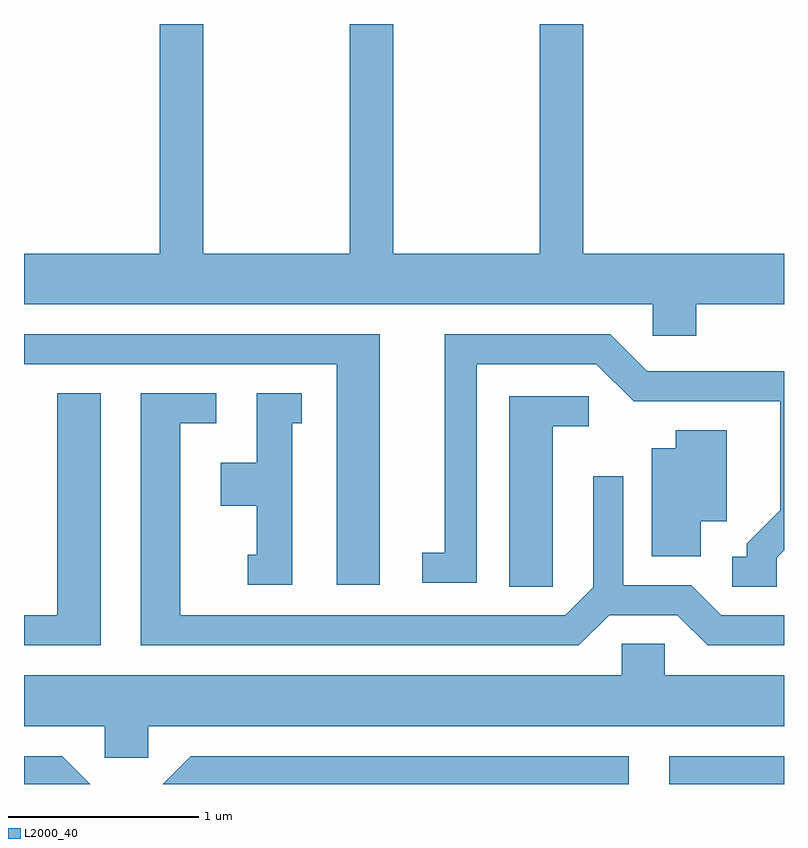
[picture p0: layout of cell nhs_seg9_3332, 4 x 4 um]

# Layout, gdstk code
import gdstk
lib = gdstk.Library(unit=1e-6, precision=1e-09)
def R(c, l, rs):  # rectangles x0, y0, x1, y1
    for r in rs: c.add(gdstk.rectangle(r[:2], r[2:], *l))
def P(c, l, *ps):  # polygons
    for p in ps: c.add(gdstk.Polygon(p, *l))
L2000_40 = (2000, 40)

nhs_seg9_3332 = lib.new_cell('nhs_seg9_3332')
R(nhs_seg9_3332, L2000_40, [(287.006,1960.432,287.611,1960.579)])
P(nhs_seg9_3332, L2000_40, [(287.149,1962.956),(287.611,1962.956),(287.611,1963.224),(286.554,1963.224),(286.554,1964.432),(286.326,1964.432),(286.326,1963.224),(285.554,1963.224),(285.554,1964.432),(285.326,1964.432),(285.326,1963.224),(284.554,1963.224),(284.554,1964.432),(284.326,1964.432),(284.326,1963.224),(283.611,1963.224),(283.611,1962.956),(286.921,1962.956),(286.921,1962.791),(287.149,1962.791)],
  [(287.574,1961.624),(287.611,1961.661),(287.611,1962.604),(286.892,1962.604),(286.697,1962.799),(285.826,1962.799),(285.826,1961.649),(285.708,1961.649),(285.708,1961.491),(285.994,1961.491),(285.994,1962.641),(286.624,1962.641),(286.819,1962.446),(287.591,1962.446),(287.591,1961.872),(287.416,1961.697),(287.416,1961.629),(287.338,1961.629),(287.338,1961.471),(287.574,1961.471)],
  [(285.484,1962.799),(283.611,1962.799),(283.611,1962.641),(285.256,1962.641),(285.256,1961.481),(285.484,1961.481)],
  [(284.014,1962.489),(283.786,1962.489),(283.786,1961.319),(283.611,1961.319),(283.611,1961.161),(284.014,1961.161)],
  [(286.692,1961.321),(287.049,1961.321),(287.209,1961.161),(287.611,1961.161),(287.611,1961.319),(287.282,1961.319),(287.122,1961.479),(286.764,1961.479),(286.764,1962.053),(286.606,1962.053),(286.606,1961.467),(286.459,1961.319),(284.434,1961.319),(284.434,1962.331),(284.623,1962.331),(284.623,1962.489),(284.226,1962.489),(284.226,1961.161),(286.532,1961.161)],
  [(285.024,1962.331),(285.073,1962.331),(285.073,1962.489),(284.836,1962.489),(284.836,1962.124),(284.646,1962.124),(284.646,1961.896),(284.836,1961.896),(284.836,1961.639),(284.788,1961.639),(284.788,1961.481),(285.024,1961.481)],
  [(286.394,1962.316),(286.583,1962.316),(286.583,1962.474),(286.166,1962.474),(286.166,1961.471),(286.394,1961.471)],
  [(287.174,1961.816),(287.309,1961.816),(287.309,1962.294),(287.041,1962.294),(287.041,1962.199),(286.916,1962.199),(286.916,1961.631),(287.174,1961.631)],
  [(284.264,1960.736),(287.611,1960.736),(287.611,1961.004),(286.984,1961.004),(286.984,1961.169),(286.756,1961.169),(286.756,1961.004),(283.611,1961.004),(283.611,1960.736),(284.036,1960.736),(284.036,1960.571),(284.264,1960.571)],
  [(286.794,1960.579),(284.489,1960.579),(284.342,1960.432),(286.794,1960.432)],
  [(283.812,1960.579),(283.611,1960.579),(283.611,1960.432),(283.959,1960.432)])

lib.write_gds('nhs_seg9_3332.gds')
